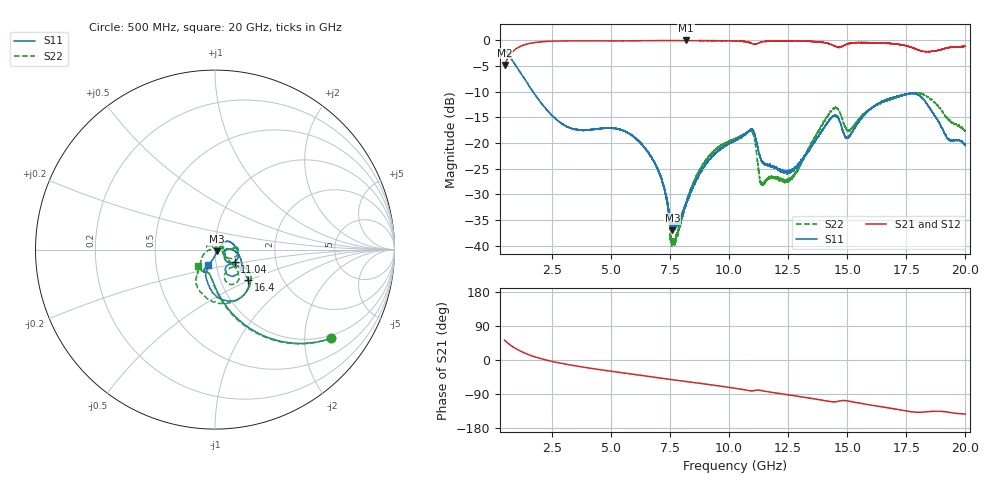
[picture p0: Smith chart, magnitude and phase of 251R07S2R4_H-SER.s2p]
!{201R07S2R4}
!Johanson Technology Inc.
!www.johansontechnology.com
!Test Board Conditions:
!Substrate Type  RO4350B
!Substrate Thickness  10 mil
!Substrate Dk  3.66
!TL Type: GCPW
!TL Trace Width  21 mil
!TL Gap  20 mil
!Electrode orientation  Horizontal
!DUT TOPOLOGY	SERIES
!Mounting Pad LxW  16x21 mil
!Agilent Technologies,N5230A,MY45001966,A.07.50.67
!Agilent N5230A: A.07.50.67
! Created Mon Mar  9 16:27:30 2020
# mhz S ma R 50
! 2 Port Network Data from SP1.SP block
! freq  magS11  angS11  magS21  angS21  magS12  angS12  magS22  angS22
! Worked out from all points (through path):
!   19501 points, 500 MHz to 20 GHz, reference 50 ohm
!   highest |S21| = -0.04 dB at 8.175 GHz (marker M1); lowest = -4.8 dB at 500 MHz (marker M2)
!   group delay of S21, straight-line fit = 23.9 ps
!   lowest |S11| = -37.0 dB at 7.598 GHz (marker M3), VSWR 1.03, Z = 51 - j1.06 ohm
!   |S11| at or under -10 dB: 1.697 GHz to end of sweep
!   |S22| runs from -40.1 to -1.8 dB; largest |S21 - S12| = 0.017
!   S11 on the Smith chart (normalised r, x): 500 MHz: 0.91, -2.69; 11.04 GHz: 1.23, -0.17; 16.4 GHz: 1.35, -0.48; 20 GHz: 0.91, -0.16
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500  0.8153 -37.3  0.5731 52.2  0.5737 52.2  0.8145 -37.4
1021  0.5441 -61.1  0.8351 28.3  0.8344 28.3  0.5449 -61.6
1599  0.3409 -77.2  0.9353 12.0  0.9359 12.0  0.3412 -77.8
3750  0.1339 -107.6  0.9861 -18.1  0.9867 -18.1  0.1332 -107.5
5655  0.128 -118.5  0.9866 -35.3  0.9853 -35.2  0.1277 -130.0
7000  0.05467 -101.5  0.9929 -46.9  0.9925 -46.8  0.05395 -165.1
7318  0.03158 -90.0  0.9937 -49.5  0.9924 -49.6  0.03042 -176.6
7598  0.0142 -47.1  0.9925 -51.9  0.9944 -52.0  0.01064 116.4
8175  0.02527 20.8  0.9951 -56.8  0.9932 -56.7  0.02578 30.4
9076  0.06452 38.5  0.9901 -64.2  0.9891 -64.2  0.07007 3.7
10250  0.1056 15.7  0.984 -74.6  0.9836 -74.5  0.1101 5.4
11042  0.1294 -32.6  0.9154 -80.9  0.9143 -80.9  0.1169 -20.6
11408  0.06442 -37.9  0.9649 -81.1  0.9658 -81.0  0.03962 1.7
12524  0.05235 -12.2  0.9836 -92.2  0.9871 -92.3  0.04334 -3.5
13500  0.09394 0.6  0.9777 -101.6  0.9733 -101.7  0.1005 -39.0
14445  0.1831 -42.3  0.8817 -110.3  0.8848 -110.6  0.2172 -54.7
15016  0.1122 -49.9  0.916 -108.2  0.9156 -108.0  0.1331 -57.6
16404  0.2485 -42.2  0.9403 -122.8  0.9359 -122.9  0.2431 -35.0
16750  0.2691 -44.7  0.9348 -126.3  0.9243 -126.6  0.2645 -40.3
18020  0.2935 -76.6  0.8036 -137.9  0.7996 -137.8  0.307 -77.2
19286  0.1091 -109.8  0.8457 -137.8  0.8501 -137.5  0.1663 -125.8
20000  0.0945 -115.1  0.8752 -142.8  0.8764 -142.7  0.1304 -136.3
